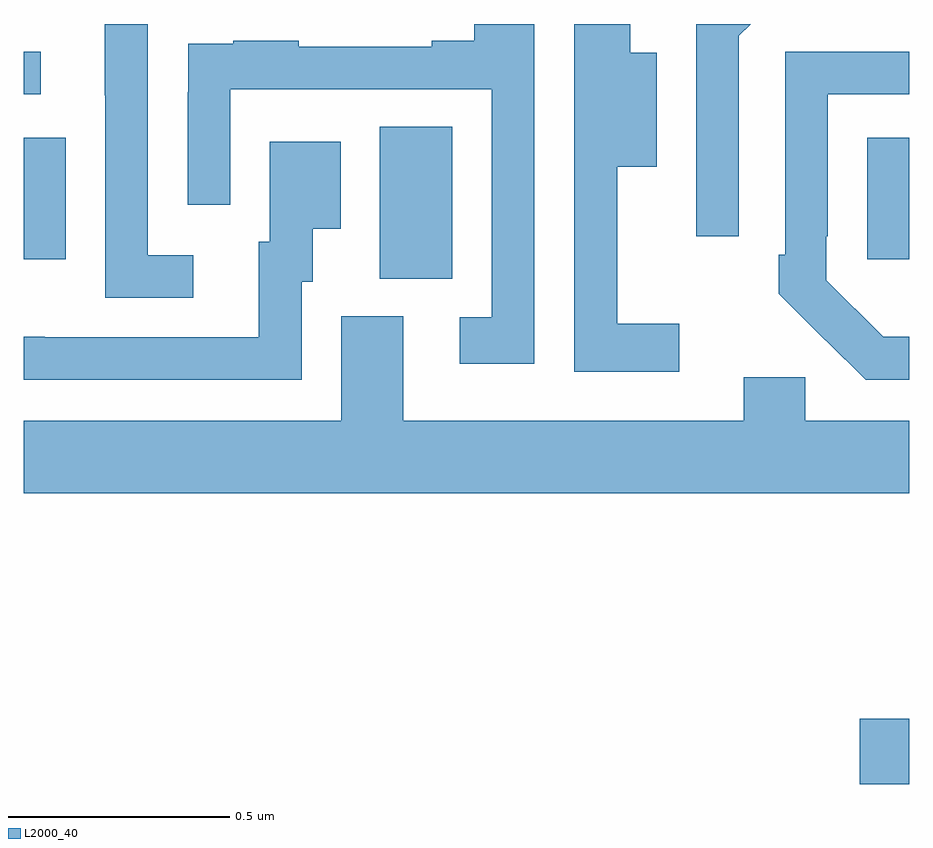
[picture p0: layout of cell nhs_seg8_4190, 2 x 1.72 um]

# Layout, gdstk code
import gdstk
lib = gdstk.Library(unit=1e-6, precision=1e-09)
def R(c, l, rs):  # rectangles x0, y0, x1, y1
    for r in rs: c.add(gdstk.rectangle(r[:2], r[2:], *l))
def P(c, l, *ps):  # polygons
    for p in ps: c.add(gdstk.Polygon(p, *l))
L2000_40 = (2000, 40)

nhs_seg8_4190 = lib.new_cell('nhs_seg8_4190')
R(nhs_seg8_4190, L2000_40, [(168.888,1109.183,169,1109.33), (167.804,1110.325,167.968,1110.668), (167,1110.369,167.095,1110.643), (168.905,1110.369,169,1110.643), (167,1110.741,167.038,1110.837)])
P(nhs_seg8_4190, L2000_40, [(167.383,1110.378),(167.28,1110.378),(167.28,1110.9),(167.183,1110.9),(167.183,1110.739),(167.184,1110.739),(167.184,1110.282),(167.383,1110.282)],
  [(168.615,1110.873),(168.642,1110.9),(168.519,1110.9),(168.519,1110.42),(168.615,1110.42)],
  [(168.153,1110.9),(168.017,1110.9),(168.017,1110.862),(167.921,1110.862),(167.921,1110.849),(167.621,1110.849),(167.621,1110.862),(167.473,1110.862),(167.473,1110.855),(167.371,1110.855),(167.371,1110.746),(167.37,1110.746),(167.37,1110.492),(167.466,1110.492),(167.466,1110.753),(168.057,1110.753),(168.057,1110.237),(167.985,1110.237),(167.985,1110.132),(168.153,1110.132)],
  [(168.481,1110.223),(168.341,1110.223),(168.341,1110.578),(168.43,1110.578),(168.43,1110.835),(168.37,1110.835),(168.37,1110.9),(168.243,1110.9),(168.243,1110.114),(168.481,1110.114)],
  [(169,1110.193),(168.942,1110.193),(168.813,1110.321),(168.813,1110.421),(168.816,1110.421),(168.816,1110.741),(169,1110.741),(169,1110.837),(168.72,1110.837),(168.72,1110.379),(168.705,1110.379),(168.705,1110.291),(168.81,1110.186),(168.811,1110.187),(168.902,1110.096),(169,1110.096)],
  [(167.628,1110.318),(167.653,1110.318),(167.653,1110.437),(167.716,1110.437),(167.716,1110.634),(167.555,1110.634),(167.555,1110.408),(167.531,1110.408),(167.531,1110.192),(167.047,1110.192),(167.047,1110.193),(167,1110.193),(167,1110.096),(167.628,1110.096)],
  [(169,1110.004),(168.765,1110.004),(168.765,1110.102),(168.626,1110.102),(168.626,1110.004),(167.857,1110.004),(167.857,1110.24),(167.717,1110.24),(167.717,1110.004),(167,1110.004),(167,1109.84),(169,1109.84)])

lib.write_gds('nhs_seg8_4190.gds')
